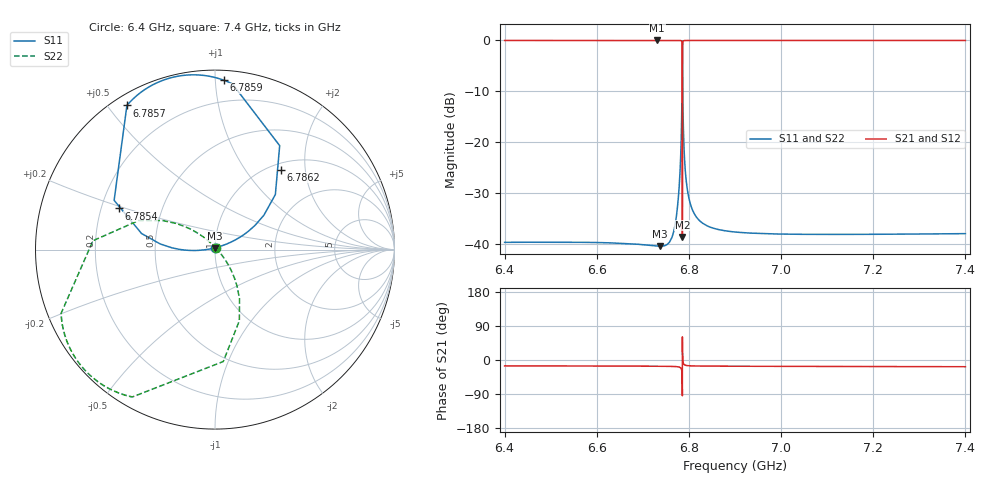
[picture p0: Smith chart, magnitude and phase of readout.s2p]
! Sonnet Data File
! From: em Version : 14.52
! From Project: readout
! Data is De-embedded
! Data File Written: 06/17/2017 20:39:39
!< HDATE 05/30/2017 22:45:08
!< MDATE 06/17/2017 19:46:36
# GHZ S MA R 50.00000
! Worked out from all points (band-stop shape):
!   19821 points, 6.4 GHz to 7.4 GHz, reference 50 ohm
!   highest |S21| = 0.00 dB at 6.731 GHz (marker M1); lowest = -38.7 dB at 6.7858 GHz (marker M2)
!   |S21| within 3 dB of the highest: start of sweep to 6.7855 GHz; 6.7861 GHz to end of sweep
!   lowest |S11| = -40.5 dB at 6.7367 GHz (marker M3), VSWR 1.02, Z = 49.8 + j0.919 ohm
!   |S11| at or under -10 dB: start of sweep to 6.7849 GHz; 6.7867 GHz to end of sweep
!   |S22| runs from -40.5 to -0.1 dB; largest |S21 - S12| = 0
!   S11 on the Smith chart (normalised r, x): 6.4 GHz: 1.00, +0.02; 6.7854 GHz: 0.27, +0.19; 6.7857 GHz: 0.04, +0.56; 6.7859 GHz: 0.06, +1.05; 6.7862 GHz: 1.11, +1.49; 7.4 GHz: 1.01, +0.02
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6.4  0.01031 76.0  0.9999 -15.4  0.9999 -15.4  0.01031 73.2
!< P1 F=6.4 Eeff=(5.67079515 -5.6695e-6) Z0=(51.4985264 -2.5749e-5) R=0.0 C=0.0029802
!< P2 F=6.4 Eeff=(5.67079515 -5.6695e-6) Z0=(51.4985264 -2.5749e-5) R=0.0 C=0.0029802
6.5668  0.01031 78.2  0.9999 -15.8  0.9999 -15.8  0.01031 70.1
6.73104  0.00948 99.1  1 -16.5  1 -16.5  0.00948 48.0
6.73334  0.009466 100.5  1 -16.5  1 -16.5  0.009466 46.6
6.73666  0.009454 102.6  1 -16.5  1 -16.5  0.009454 44.3
6.77276  0.01855 162.2  0.9998 -17.5  0.9998 -17.5  0.01854 -17.3
6.78122  0.0574 -178.9  0.9983 -19.9  0.9983 -19.9  0.05739 -41.0
6.7854  0.5845 156.9  0.8064 -52.4  0.8064 -52.4  0.5843 -82.7
6.7857  0.9415 121.4  0.3046 -86.8  0.3046 -86.8  0.9413 -119.3
6.785702  0.9433 121.1  0.2987 -87.1  0.2987 -87.1  0.9431 -119.7
6.785769  0.985 108.6  0.08392 -93.9  0.08392 -93.9  0.9848 -132.4
6.785793  0.9884 103.9  0.01167 -17.2  0.01167 -17.2  0.9882 -137.2
6.78582  0.9841 98.6  0.09476 60.9  0.09476 60.9  0.9839 -142.6
6.785882  0.9453 87.1  0.2927 54.2  0.2927 54.2  0.945 -154.4
6.7859  0.9283 84.0  0.3438 51.4  0.3438 51.4  0.9281 -157.5
6.7862  0.5779 50.4  0.8114 18.6  0.8114 18.6  0.5778 167.8
6.79152  0.057 26.7  0.9983 -13.4  0.9983 -13.4  0.05699 126.4
6.80486  0.02325 39.3  0.9997 -15.5  0.9997 -15.5  0.02325 109.8
6.9  0.01303 62.0  0.9999 -16.4  0.9999 -16.4  0.01303 85.2
7.07  0.01235 66.8  0.9999 -16.9  0.9999 -16.9  0.01235 79.3
7.235  0.01239 67.8  0.9999 -17.3  0.9999 -17.3  0.01239 77.5
7.4  0.01256 68.1  0.9999 -17.8  0.9999 -17.8  0.01256 76.4
